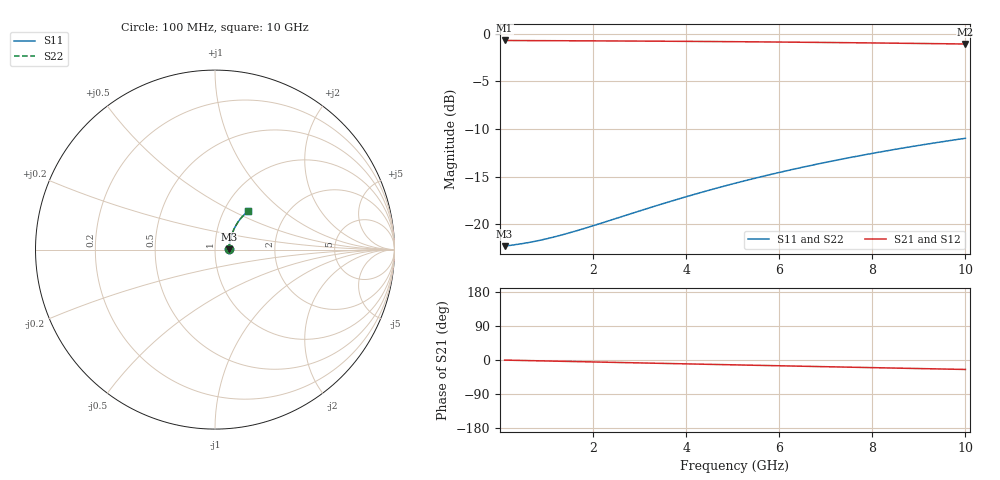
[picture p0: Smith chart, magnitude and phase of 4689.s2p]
# Hz S RI R 50.00
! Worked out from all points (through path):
!   100 points, 100 MHz to 10 GHz, reference 50 ohm
!   highest |S21| = -0.69 dB at 100 MHz (marker M1); lowest = -1.1 dB at 10 GHz (marker M2)
!   group delay of S21, straight-line fit = 6.94 ps
!   lowest |S11| = -22.3 dB at 100 MHz (marker M3), VSWR 1.17, Z = 58.3 + j0.3 ohm
!   |S11| at or under -10 dB: start of sweep to end of sweep
!   |S22| runs from -22.3 to -11.0 dB; largest |S21 - S12| = 0
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1e8  0.0769 0.00256  0.9231 -0.00414  0.9231 -0.00414  0.0769 0.00256
5e8  0.0785 0.0127  0.9215 -0.0206  0.9215 -0.0206  0.0785 0.0127
7e8  0.0791 0.0178  0.9208 -0.0289  0.9208 -0.0289  0.0791 0.0178
9e8  0.0798 0.0229  0.9201 -0.0371  0.9201 -0.0371  0.0798 0.0229
1.1e9  0.0806 0.0279  0.9193 -0.0453  0.9193 -0.0453  0.0806 0.0279
1.3e9  0.0813 0.0329  0.9184 -0.0535  0.9184 -0.0535  0.0813 0.0329
1.5e9  0.0822 0.0379  0.9175 -0.0616  0.9175 -0.0616  0.0822 0.0379
1.8e9  0.0836 0.0454  0.916 -0.0739  0.916 -0.0739  0.0836 0.0454
2.6e9  0.0882 0.0651  0.9109 -0.1062  0.9109 -0.1062  0.0882 0.0651
3.4e9  0.094 0.0844  0.9045 -0.1381  0.9045 -0.1381  0.094 0.0844
3.9e9  0.0983 0.0961  0.8997 -0.1578  0.8997 -0.1578  0.0983 0.0961
4.3e9  0.1021 0.1054  0.8955 -0.1734  0.8955 -0.1734  0.1021 0.1054
4.7e9  0.1062 0.1145  0.8909 -0.1888  0.8909 -0.1888  0.1062 0.1145
5.1e9  0.1106 0.1234  0.886 -0.2041  0.886 -0.2041  0.1106 0.1234
5.5e9  0.1152 0.1321  0.8808 -0.2191  0.8808 -0.2191  0.1152 0.1321
5.9e9  0.1202 0.1406  0.8752 -0.234  0.8752 -0.234  0.1202 0.1406
6.3e9  0.1255 0.1489  0.8693 -0.2487  0.8693 -0.2487  0.1255 0.1489
6.7e9  0.131 0.157  0.8631 -0.2631  0.8631 -0.2631  0.131 0.157
7.5e9  0.1427 0.1725  0.8499 -0.2913  0.8499 -0.2913  0.1427 0.1725
8.4e9  0.157 0.1888  0.8336 -0.3219  0.8336 -0.3219  0.157 0.1888
9.2e9  0.1707 0.2021  0.8182 -0.348  0.8182 -0.348  0.1707 0.2021
1e10  0.185 0.2144  0.8018 -0.3731  0.8018 -0.3731  0.185 0.2144
